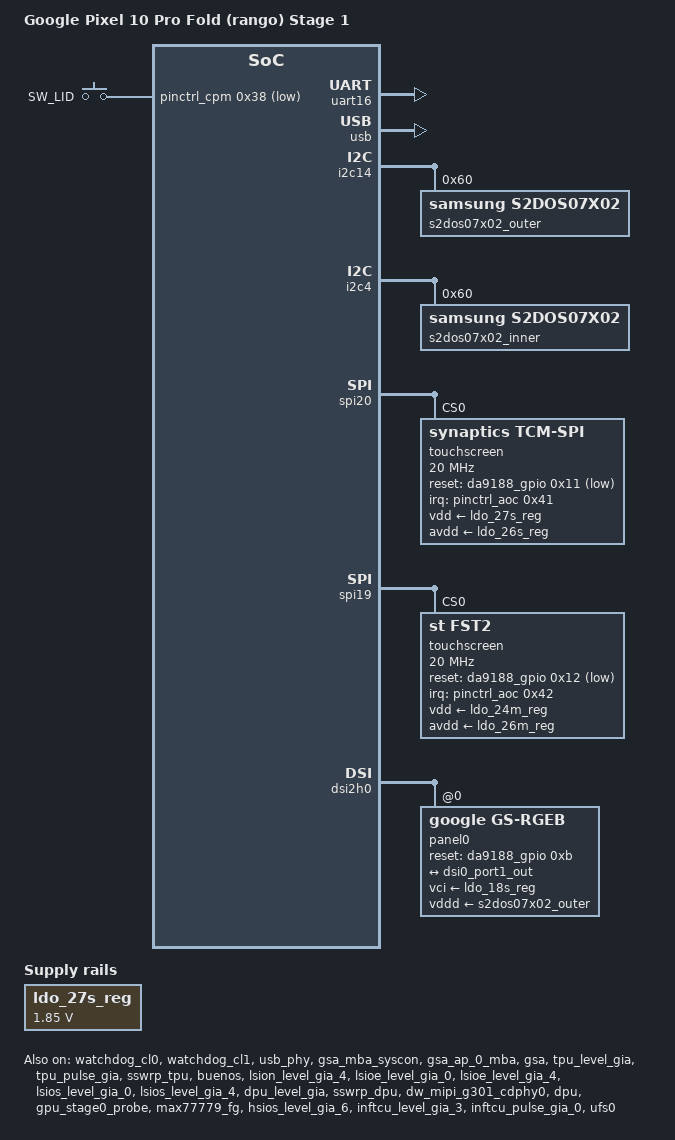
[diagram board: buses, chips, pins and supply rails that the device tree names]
// SPDX-License-Identifier: GPL-2.0-only
/*
 * Google Pixel 10 Pro Fold (rango) Stage 1 clean-room DTS draft.
 *
 * Verified stock DTBO identity (non-PII):
 *   dtbo_idx = 10 (lga-rango-mp.dtbo), board_id = 0x70606, board_rev = 0x010000
 *   Stock dual panels: google-rgea (2152x2076@60) + google-rgeb (1080x2364@60)
 *   (no bootloader simple-framebuffer or cont_splash carveout exists)
 *
 * Do NOT add device serials, IMEIs, MACs, BT addresses, PSN, or /chosen/config.
 */

/dts-v1/;

#include "lga.dtsi"

/ {
	model = "Google Pixel 10 Pro Fold (rango) Stage 1";
	compatible = "google,lga-rango", "google,lga";
	board_id = <0x70606>;
	board_rev = <0x010000>;

	chosen {
		/* keep_bootcon retains earlycon if ttyS0 defers pending clk-cpm */
		bootargs = "earlycon=uart8250,mmio32,0xdb62000 console=ttyS0,115200n8 keep_bootcon google_8250.nr_uarts=4 clk_ignore_unused pd_ignore_unused panic=10 rdinit=/init";
	};
};

&uart16 {
	status = "okay";
};

&watchdog_cl0 {
	status = "okay";
};

&watchdog_cl1 {
	status = "okay";
};

/*
 * Stage 1B USB2 gadget (requires CPM power/clock/reset drivers or Stage 1A stubs
 * because dwc3-google enforces dev_pm_domain_attach_by_name("psw"/"top")).
 */
&usb_phy {
	status = "okay";
};

&usb {
	status = "okay";
};

&cpuacc_level_gia {
	status = "okay";
};

&cpuacc_pulse_gia {
	status = "okay";
};

&amb_smmu {
	status = "okay";
};

&gsa_mba_syscon {
	status = "okay";
};

&gsa_ap_0_mba {
	status = "okay";
};

&gsa {
	status = "okay";
};

&tpu_level_gia {
	status = "okay";
};

&tpu_pulse_gia {
	status = "okay";
};

&tpu_smmu {
	status = "okay";
};

&sswrp_tpu {
	status = "okay";
};

&buenos {
	status = "okay";
};

&ldo_27s_reg {
	regulator-min-microvolt = <1850000>;
	regulator-max-microvolt = <1850000>;
};

&lsion_level_gia_4 {
	status = "okay";
};

&lsioe_level_gia_0 {
	status = "okay";
};

&lsioe_level_gia_4 {
	status = "okay";
};

&lsios_level_gia_0 {
	status = "okay";
};

&lsios_level_gia_4 {
	status = "okay";
};

&pinctrl_cpm {
	status = "okay";
};

&pinctrl_aoc {
	status = "okay";
};

&pinctrl_lsioe {
	status = "okay";
};

&pinctrl_lsios {
	gpio-reserved-ranges = <0xf 0x4 0x36 0x1>;
	status = "okay";
};

&i2c14 {
	status = "okay";

	s2dos07x02_outer: regulator@60 {
		compatible = "samsung,s2dos07x02";
		reg = <0x60>;
		regulator-name = "s2dos07x02-pmic";
		regulator-min-microvolt = <850000>;
		regulator-max-microvolt = <2100000>;
	};
};

&i2c4 {
	status = "okay";

	s2dos07x02_inner: regulator@60 {
		compatible = "samsung,s2dos07x02";
		reg = <0x60>;
		regulator-name = "s2dos07x02-inner-pmic";
		regulator-min-microvolt = <850000>;
		regulator-max-microvolt = <2100000>;
	};
};

&spi20 {
	status = "okay";

	touchscreen@0 {
		compatible = "synaptics,tcm-spi";
		reg = <0>;
		spi-max-frequency = <20000000>;
		rx-sample-delay-ns = <25>;
		pinctrl-names = "default";
		pinctrl-0 = <&ts0_2_aoc_int_l_1v2>;
		vdd-supply = <&ldo_27s_reg>;
		avdd-supply = <&ldo_26s_reg>;
		reset-gpios = <&da9188_gpio 0x11 GPIO_ACTIVE_LOW>;
		interrupt-parent = <&pinctrl_aoc>;
		interrupts = <0x41 IRQ_TYPE_LEVEL_LOW>;
		power-delay-ms = <200>;
		reset-active-ms = <20>;
		reset-delay-ms = <200>;
	};
};

&spi19 {
	status = "okay";

	touchscreen@0 {
		compatible = "st,fst2";
		reg = <0>;
		spi-max-frequency = <20000000>;
		rx-sample-delay-ns = <25>;
		pinctrl-names = "default";
		pinctrl-0 = <&ts1_2_aoc_int_l_1v2>;
		vdd-supply = <&ldo_24m_reg>;
		avdd-supply = <&ldo_26m_reg>;
		reset-gpios = <&da9188_gpio 0x12 GPIO_ACTIVE_LOW>;
		interrupt-parent = <&pinctrl_aoc>;
		interrupts = <0x42 IRQ_TYPE_LEVEL_LOW>;
		touchscreen-size-x = <2076>;
		touchscreen-size-y = <2152>;
		touchscreen-inverted-x;
	};
};

&gpio_keys {
	pinctrl-0 = <&vol_dn_l &vol_up_l &pmicm2ap_gsc_pwron_od_l &hall1_2_aoc_ap_l>;
	status = "okay";

	lid-switch {
		label = "SW_LID";
		linux,input-type = <EV_SW>;
		linux,code = <SW_LID>;
		gpios = <&pinctrl_cpm 0x38 GPIO_ACTIVE_LOW>;
		wakeup-source;
		status = "okay";
	};
};

&dpu_level_gia {
	status = "okay";
};

&sswrp_dpu {
	status = "okay";
};

&dw_mipi_g301_cdphy0 {
	status = "okay";
};

&dsi2h0 {
	status = "okay";
	datarate = <865>;

	panel0: panel@0 {
		compatible = "google,gs-rgeb";
		reg = <0>;
		vci-supply = <&ldo_18s_reg>;
		vddd-supply = <&s2dos07x02_outer>;
		reset-gpios = <&da9188_gpio 0xb GPIO_ACTIVE_HIGH>;

		port {
			panel0_in: endpoint {
				remote-endpoint = <&dsi0_port1_out>;
			};
		};
	};
};

&dsi0_port1_out {
	remote-endpoint = <&panel0_in>;
};

&dsi2h1 {
	status = "disabled";
	datarate = <1468>;
	#address-cells = <1>;
	#size-cells = <0>;

	panel1: panel@0 {
		compatible = "google,gs-rgea";
		reg = <0>;
		vci-supply = <&ldo_14m_reg>;
		vddd-supply = <&s2dos07x02_inner>;

		port {
			panel1_in: endpoint {
				remote-endpoint = <&dsi1_port1_out>;
			};
		};
	};
};

&dsi1_port1_out {
	remote-endpoint = <&panel1_in>;
};

&dpu {
	status = "okay";
};

&gpu_stage0_probe {
	status = "okay";
};

&spmi0 {
	master_arb_en = <0>;
	prescalar = <4>;
	status = "okay";
};

&max77779_fg {
	status = "okay";
};

&hsios_level_gia_6 {
	status = "okay";
};

&inftcu_level_gia_3 {
	status = "okay";
};

&inftcu_pulse_gia_0 {
	status = "okay";
};

&inf_smmu {
	status = "okay";
};

&pinctrl_hsios_stby {
	status = "okay";
};

&pinctrl_hsios {
	status = "okay";
};

&ufs0 {
	google,enable-phy-calibration;
	google,toggle-resetb-on-reset;
	phy-cal-data = <0x2dd3129 0x2f23329 0x76311e 0x76331e 0x723120 0x723320 0x723122 0x703322
			0x723124 0x703324 0x1ffe0162 0x3021 0x3221 0x80803022 0x80803222
			0x80803023 0x80803223 0x3039 0x3239 0x313c 0x333c 0x2010313d 0x2010333d
			0x2010313e 0x200d333e 0x2014313f 0x200e333f 0x20103140 0x20103340
			0x20103141 0x200d3341 0x20143142 0x200e3342 0x24383143 0x24383343
			0x24383144 0x24383344 0x3145 0x3345 0x3146 0x3346 0x1f690163 0xf3024
			0xf3224 0x7ea33025 0x7ea03225 0x80803026 0x80803226 0x1303a 0x1323a
			0xf3147 0xf3347 0x20103148 0x20103348 0x23303149 0x208d3349 0x2054314a
			0x226e334a 0x2010314b 0x2010334b 0x2010314c 0x200d334c 0x2014314d
			0x200e334d 0x2438314e 0x2338334e 0x2438314f 0x2438334f 0x13150 0x13350
			0x3151 0x3351>;
	status = "okay";
};
